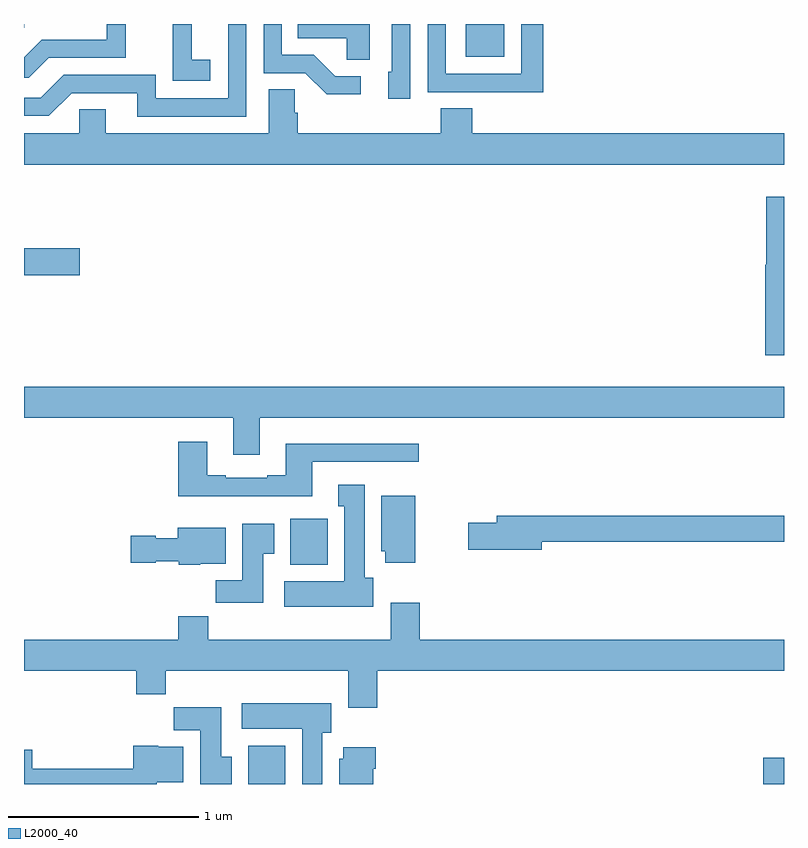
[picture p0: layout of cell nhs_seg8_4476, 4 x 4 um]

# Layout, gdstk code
import gdstk
lib = gdstk.Library(unit=1e-6, precision=1e-09)
def R(c, l, rs):  # rectangles x0, y0, x1, y1
    for r in rs: c.add(gdstk.rectangle(r[:2], r[2:], *l))
def P(c, l, *ps):  # polygons
    for p in ps: c.add(gdstk.Polygon(p, *l))
L2000_40 = (2000, 40)

nhs_seg8_4476 = lib.new_cell('nhs_seg8_4476')
R(nhs_seg8_4476, L2000_40, [(384.179,1119.9,384.375,1120.102), (386.892,1119.9,387,1120.038), (384.401,1121.054,384.598,1121.296), (383,1122.578,383.293,1122.72), (385.325,1123.727,385.528,1123.9), (383,1123.881,383.001,1123.9)])
P(nhs_seg8_4476, L2000_40, [(383.98,1123.711),(383.882,1123.711),(383.882,1123.9),(383.783,1123.9),(383.783,1123.807),(383.782,1123.807),(383.782,1123.601),(383.98,1123.601)],
  [(385.733,1123.9),(385.617,1123.9),(385.617,1123.638),(385.221,1123.638),(385.221,1123.9),(385.125,1123.9),(385.125,1123.542),(385.441,1123.542),(385.441,1123.541),(385.733,1123.541)],
  [(383.131,1123.722),(383.535,1123.722),(383.535,1123.9),(383.436,1123.9),(383.436,1123.818),(383.094,1123.818),(383,1123.724),(383,1123.617),(383.026,1123.617)],
  [(384.82,1123.9),(384.442,1123.9),(384.442,1123.826),(384.699,1123.826),(384.699,1123.711),(384.82,1123.711)],
  [(384.171,1123.9),(384.075,1123.9),(384.075,1123.509),(383.694,1123.509),(383.694,1123.632),(383.208,1123.632),(383.088,1123.512),(383,1123.512),(383,1123.416),(383.13,1123.416),(383.25,1123.536),(383.597,1123.536),(383.597,1123.413),(384.171,1123.413)],
  [(384.772,1123.626),(384.637,1123.626),(384.526,1123.737),(384.357,1123.737),(384.357,1123.9),(384.261,1123.9),(384.261,1123.641),(384.48,1123.641),(384.593,1123.529),(384.772,1123.529)],
  [(385.032,1123.9),(384.936,1123.9),(384.936,1123.65),(384.917,1123.65),(384.917,1123.506),(385.032,1123.506)],
  [(387,1123.324),(385.358,1123.324),(385.358,1123.457),(385.193,1123.457),(385.193,1123.324),(384.44,1123.324),(384.44,1123.433),(384.426,1123.433),(384.426,1123.556),(384.287,1123.556),(384.287,1123.324),(383.431,1123.324),(383.431,1123.451),(383.292,1123.451),(383.292,1123.324),(383,1123.324),(383,1123.16),(387,1123.16)],
  [(387,1122.991),(386.906,1122.991),(386.906,1122.633),(386.9,1122.633),(386.9,1122.156),(387,1122.156)],
  [(384.241,1121.828),(387,1121.828),(387,1121.992),(383,1121.992),(383,1121.828),(384.101,1121.828),(384.101,1121.634),(384.241,1121.634)],
  [(384.517,1121.595),(385.078,1121.595),(385.078,1121.692),(384.377,1121.692),(384.377,1121.524),(384.281,1121.524),(384.281,1121.511),(384.061,1121.511),(384.061,1121.524),(383.965,1121.524),(383.965,1121.701),(383.813,1121.701),(383.813,1121.414),(384.517,1121.414)],
  [(384.838,1120.986),(384.793,1120.986),(384.793,1121.476),(384.653,1121.476),(384.653,1121.363),(384.686,1121.363),(384.686,1120.966),(384.369,1120.966),(384.369,1120.832),(384.838,1120.832)],
  [(385.06,1121.416),(384.881,1121.416),(384.881,1121.124),(384.902,1121.124),(384.902,1121.064),(385.06,1121.064)],
  [(385.726,1121.176),(387,1121.176),(387,1121.312),(385.487,1121.312),(385.487,1121.276),(385.338,1121.276),(385.338,1121.134),(385.726,1121.134)],
  [(384.259,1121.113),(384.316,1121.113),(384.316,1121.269),(384.149,1121.269),(384.149,1120.972),(384.01,1120.972),(384.01,1120.854),(384.259,1120.854)],
  [(383.928,1121.06),(384.061,1121.06),(384.061,1121.248),(383.81,1121.248),(383.81,1121.194),(383.694,1121.194),(383.694,1121.207),(383.562,1121.207),(383.562,1121.065),(383.694,1121.065),(383.694,1121.072),(383.814,1121.072),(383.814,1121.054),(383.928,1121.054)],
  [(384.86,1120.496),(387,1120.496),(387,1120.66),(385.082,1120.66),(385.082,1120.855),(384.929,1120.855),(384.929,1120.66),(383.969,1120.66),(383.969,1120.784),(383.813,1120.784),(383.813,1120.66),(383,1120.66),(383,1120.496),(383.591,1120.496),(383.591,1120.372),(383.747,1120.372),(383.747,1120.496),(384.707,1120.496),(384.707,1120.302),(384.86,1120.302)],
  [(384.571,1120.17),(384.616,1120.17),(384.616,1120.324),(384.147,1120.324),(384.147,1120.19),(384.464,1120.19),(384.464,1119.9),(384.571,1119.9)],
  [(384.094,1120.044),(384.037,1120.044),(384.037,1120.303),(383.788,1120.303),(383.788,1120.184),(383.927,1120.184),(383.927,1119.9),(384.094,1119.9)],
  [(383.698,1119.908),(383.839,1119.908),(383.839,1120.096),(383.706,1120.096),(383.706,1120.102),(383.576,1120.102),(383.576,1119.98),(383.044,1119.98),(383.044,1120.081),(383,1120.081),(383,1119.9),(383.698,1119.9)],
  [(384.838,1119.98),(384.851,1119.98),(384.851,1120.093),(384.68,1120.093),(384.68,1120.032),(384.659,1120.032),(384.659,1119.9),(384.838,1119.9)])

lib.write_gds('nhs_seg8_4476.gds')
